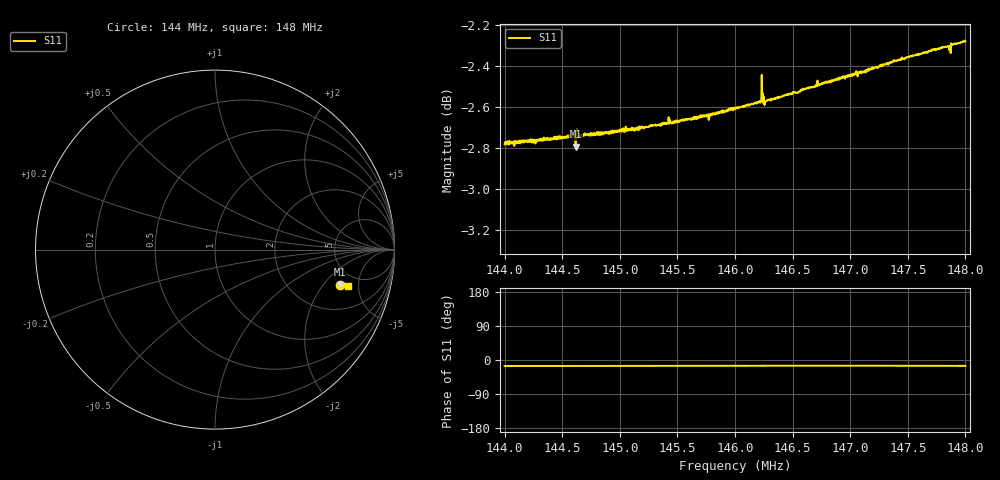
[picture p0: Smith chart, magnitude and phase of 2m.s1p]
! Calibrated averaged scanner-service zoom
# Hz S RI R 50
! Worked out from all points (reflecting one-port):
!   1001 points, 144 MHz to 148 MHz, reference 50 ohm
!   lowest |S11| = -2.8 dB at 144.62 MHz (marker M1), VSWR 6.27, Z = 184 - j151 ohm
!   phase of S11 starts at -16 deg and turns +0 deg over the sweep
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1.44e8  0.6984 -0.1979
1.44044e8  0.6992 -0.199
1.445e8  0.7011 -0.198
1.44616e8  0.6983 -0.1951
1.44716e8  0.7026 -0.1981
1.45e8  0.7046 -0.1968
1.455e8  0.7085 -0.1953
1.4572e8  0.7111 -0.1943
1.46e8  0.7146 -0.194
1.46208e8  0.7174 -0.195
1.46212e8  0.7177 -0.195
1.46228e8  0.7176 -0.1949
1.46236e8  0.7201 -0.1942
1.46252e8  0.7178 -0.1961
1.46256e8  0.7182 -0.1864
1.46264e8  0.7176 -0.1945
1.46276e8  0.718 -0.1948
1.4628e8  0.718 -0.195
1.465e8  0.721 -0.1949
1.46672e8  0.7235 -0.1959
1.46712e8  0.7241 -0.195
1.47e8  0.728 -0.1963
1.47216e8  0.7314 -0.1984
1.475e8  0.7354 -0.2008
1.47812e8  0.739 -0.2035
1.47852e8  0.7392 -0.2039
1.47896e8  0.74 -0.2044
1.48e8  0.741 -0.2056
